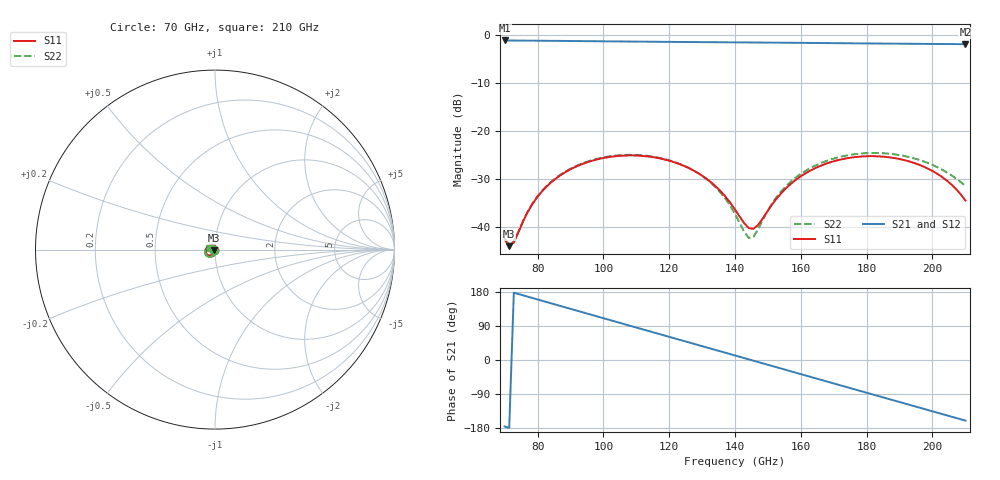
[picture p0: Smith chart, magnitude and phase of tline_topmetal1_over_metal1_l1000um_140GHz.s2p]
#  GHZ S DB R 50
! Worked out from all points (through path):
!   101 points, 70 GHz to 210 GHz, reference 50 ohm
!   highest |S21| = -1.07 dB at 70 GHz (marker M1); lowest = -1.8 dB at 210 GHz (marker M2)
!   group delay of S21, straight-line fit = 6.83 ps
!   lowest |S11| = -44.1 dB at 71.4 GHz (marker M3), VSWR 1.01, Z = 49.5 - j0.335 ohm
!   |S11| at or under -10 dB: start of sweep to end of sweep
!   |S22| runs from -43.8 to -24.6 dB; largest |S21 - S12| = 9.4e-14
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70  -42.66 -170.4  -1.07 -175.5  -1.07 -175.5  -42.41 -169.4
71.4  -44.08 -147.2  -1.08 -179.0  -1.08 -179.0  -43.82 -146.5
72.8  -43.32 -121.6  -1.08 177.6  -1.08 177.6  -43.11 -121.2
77  -36.98 -93.1  -1.11 167.2  -1.11 167.2  -36.85 -92.3
81.2  -32.76 -93.8  -1.13 156.8  -1.13 156.8  -32.63 -92.8
86.8  -29.34 -103.2  -1.16 143.0  -1.16 143.0  -29.20 -101.9
93.8  -26.85 -118.4  -1.21 125.7  -1.21 125.7  -26.72 -116.9
100.8  -25.55 -134.6  -1.25 108.4  -1.25 108.4  -25.42 -133.0
106.4  -25.14 -147.7  -1.29 94.6  -1.29 94.6  -25.01 -146.0
117.6  -25.79 -173.2  -1.35 67.0  -1.35 67.0  -25.69 -171.5
130.2  -29.42 162.1  -1.42 36.1  -1.42 36.1  -29.47 163.2
135.8  -32.71 156.5  -1.45 22.3  -1.45 22.3  -33.04 156.7
140  -36.41 160.9  -1.47 12.0  -1.47 12.0  -37.34 160.6
144.2  -40.30 -170.4  -1.49 1.6  -1.49 1.6  -42.37 -162.2
145.6  -40.45 -154.2  -1.49 -1.8  -1.49 -1.8  -42.13 -140.1
154  -33.04 -116.3  -1.54 -22.5  -1.54 -22.5  -32.64 -104.7
163.8  -27.96 -128.0  -1.59 -46.6  -1.59 -46.6  -27.43 -118.6
176.4  -25.46 -153.6  -1.67 -77.6  -1.67 -77.6  -24.85 -143.9
187.6  -25.57 -177.9  -1.73 -105.0  -1.73 -105.0  -24.80 -166.5
200.2  -28.43 155.8  -1.80 -135.9  -1.80 -135.9  -27.16 171.6
205.8  -31.22 146.1  -1.82 -149.6  -1.82 -149.6  -29.29 165.8
210  -34.54 142.1  -1.84 -159.9  -1.84 -159.9  -31.46 165.9
